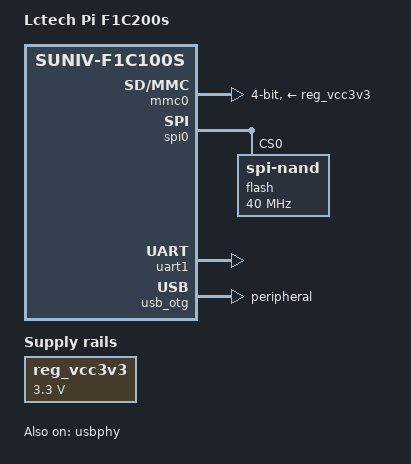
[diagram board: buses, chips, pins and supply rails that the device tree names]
// SPDX-License-Identifier: (GPL-2.0+ OR MIT)
/*
 * Copyright 2022 Arm Ltd,
 * based on work:
 *   Copyright 2022 Icenowy Zheng <uwu@icenowy.me>
 */

/dts-v1/;
#include "suniv-f1c100s.dtsi"

#include <dt-bindings/gpio/gpio.h>

/ {
	model = "Lctech Pi F1C200s";
	compatible = "lctech,pi-f1c200s", "allwinner,suniv-f1c200s",
		     "allwinner,suniv-f1c100s";

	aliases {
		serial0 = &uart1;
	};

	chosen {
		stdout-path = "serial0:115200n8";
	};

	reg_vcc3v3: regulator-3v3 {
		compatible = "regulator-fixed";
		regulator-name = "vcc3v3";
		regulator-min-microvolt = <3300000>;
		regulator-max-microvolt = <3300000>;
	};
};

&mmc0 {
	broken-cd;
	bus-width = <4>;
	disable-wp;
	vmmc-supply = <&reg_vcc3v3>;
	status = "okay";
};

&otg_sram {
	status = "okay";
};

&spi0 {
	pinctrl-names = "default";
	pinctrl-0 = <&spi0_pc_pins>;
	status = "okay";

	flash@0 {
		compatible = "spi-nand";
		reg = <0>;
		spi-max-frequency = <40000000>;
	};
};

&uart1 {
	pinctrl-names = "default";
	pinctrl-0 = <&uart1_pa_pins>;
	status = "okay";
};

/*
 * This is a Type-C socket, but CC1/2 are not connected, and VBUS is connected
 * to Vin, which supplies the board. Host mode works (if the board is powered
 * otherwise), but peripheral is probably the intention.
 */
&usb_otg {
	dr_mode = "peripheral";
	status = "okay";
};

&usbphy {
	status = "okay";
};
